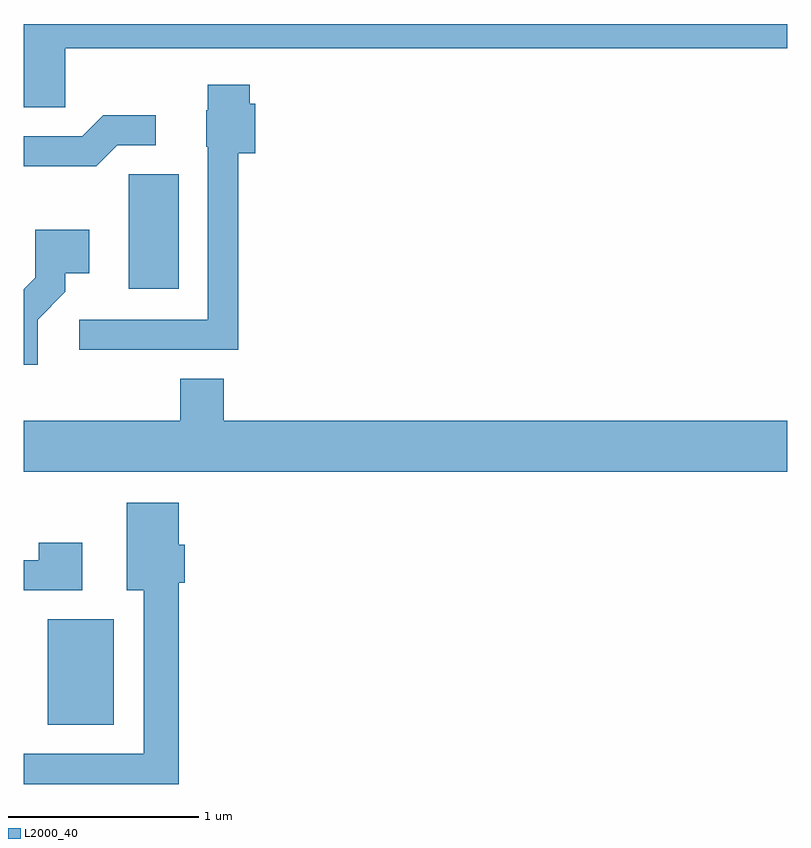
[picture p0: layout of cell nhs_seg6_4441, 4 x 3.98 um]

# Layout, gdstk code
import gdstk
lib = gdstk.Library(unit=1e-6, precision=1e-09)
def R(c, l, rs):  # rectangles x0, y0, x1, y1
    for r in rs: c.add(gdstk.rectangle(r[:2], r[2:], *l))
def P(c, l, *ps):  # polygons
    for p in ps: c.add(gdstk.Polygon(p, *l))
L2000_40 = (2000, 40)

nhs_seg6_4441 = lib.new_cell('nhs_seg6_4441')
R(nhs_seg6_4441, L2000_40, [(321.736,1546.491,322.084,1547.044), (322.161,1548.776,322.424,1549.374)])
P(nhs_seg6_4441, L2000_40, [(321.611,1549.726),(321.829,1549.726),(321.829,1550.036),(325.611,1550.036),(325.611,1550.162),(321.611,1550.162)],
  [(322.734,1549.486),(322.824,1549.486),(322.824,1549.744),(322.794,1549.744),(322.794,1549.844),(322.576,1549.844),(322.576,1549.71),(322.566,1549.71),(322.566,1549.52),(322.576,1549.52),(322.576,1548.614),(321.903,1548.614),(321.903,1548.456),(322.734,1548.456)],
  [(322.102,1549.526),(322.303,1549.526),(322.303,1549.684),(322.029,1549.684),(321.919,1549.574),(321.611,1549.574),(321.611,1549.416),(321.992,1549.416)],
  [(321.684,1548.614),(321.829,1548.759),(321.829,1548.856),(321.954,1548.856),(321.954,1549.084),(321.671,1549.084),(321.671,1548.832),(321.611,1548.772),(321.611,1548.376),(321.684,1548.376)],
  [(325.611,1548.084),(322.659,1548.084),(322.659,1548.304),(322.431,1548.304),(322.431,1548.084),(321.611,1548.084),(321.611,1547.816),(325.611,1547.816)],
  [(322.424,1547.236),(322.454,1547.236),(322.454,1547.434),(322.424,1547.434),(322.424,1547.654),(322.151,1547.654),(322.151,1547.196),(322.241,1547.196),(322.241,1546.339),(321.611,1546.339),(321.611,1546.181),(322.424,1546.181)],
  [(321.919,1547.444),(321.691,1547.444),(321.691,1547.354),(321.611,1547.354),(321.611,1547.196),(321.919,1547.196)])

lib.write_gds('nhs_seg6_4441.gds')
